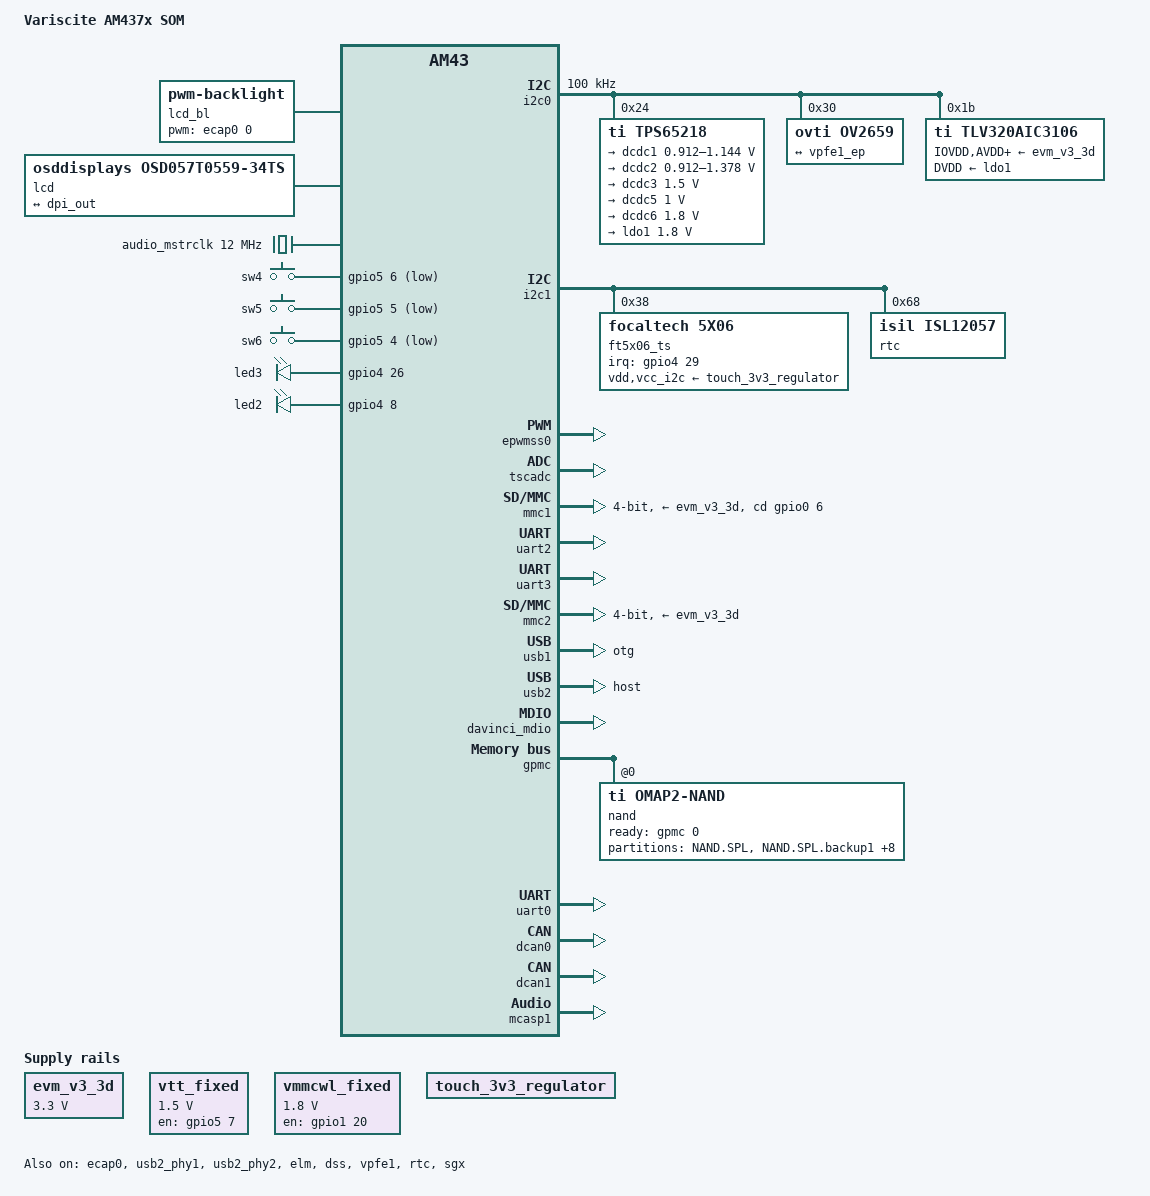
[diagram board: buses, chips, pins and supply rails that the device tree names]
/*
 * Copyright (C) 2015 Variscite LTD - http://www.variscite.com/
 *
 * This program is free software; you can redistribute it and/or modify
 * it under the terms of the GNU General Public License version 2 as
 * published by the Free Software Foundation.
 */

/* VAR-SOM-AM43 */

/dts-v1/;

#include "am4372.dtsi"
#include <dt-bindings/pinctrl/am43xx.h>
#include <dt-bindings/pwm/pwm.h>
#include <dt-bindings/gpio/gpio.h>
#include <dt-bindings/input/input.h>

/ {
	model = "Variscite AM437x SOM";
	compatible = "ti,am437x-gp-evm","ti,am4372","ti,am43","var,var-som-am43";

	aliases {
		display0 = &lcd0;
		serial1 = &uart1;
		serial2 = &uart2;
		serial3 = &uart3;
		serial4 = &uart4;
		serial5 = &uart5;
	};

	evm_v3_3d: fixedregulator-v3_3d {
		compatible = "regulator-fixed";
		regulator-name = "evm_v3_3d";
		regulator-min-microvolt = <3300000>;
		regulator-max-microvolt = <3300000>;
		enable-active-high;
	};

	vtt_fixed: fixedregulator-vtt {
		compatible = "regulator-fixed";
		regulator-name = "vtt_fixed";
		regulator-min-microvolt = <1500000>;
		regulator-max-microvolt = <1500000>;
		regulator-always-on;
		regulator-boot-on;
		enable-active-high;
		gpio = <&gpio5 7 GPIO_ACTIVE_HIGH>;
	};

	vmmcwl_fixed: fixedregulator-mmcwl {
		compatible = "regulator-fixed";
		regulator-name = "vmmcwl_fixed";
		regulator-min-microvolt = <1800000>;
		regulator-max-microvolt = <1800000>;
		gpio = <&gpio1 20 GPIO_ACTIVE_HIGH>;
		enable-active-high;
	};

	touch_3v3_regulator: touch_3v3_regulator {
	        compatible = "regulator-fixed";
	        regulator-name = "touch_3v3_regulator";
	};

	lcd_bl: backlight {
		compatible = "pwm-backlight";
		pwms = <&ecap0 0 5000 0>;
		brightness-levels = <1 51 53 56 62 75 101 152 250>;
		default-brightness-level = <8>;
	};

	lcd0: display {
		compatible = "osddisplays,osd057T0559-34ts", "panel-dpi";
		label = "lcd";

		panel-timing {
			clock-frequency = <33000000>;
			hactive = <800>;
			vactive = <480>;
			hfront-porch = <210>;
			hback-porch = <16>;
			hsync-len = <30>;
			vback-porch = <10>;
			vfront-porch = <22>;
			vsync-len = <13>;
			hsync-active = <0>;
			vsync-active = <0>;
			de-active = <1>;
			pixelclk-active = <1>;
		};

		port {
			lcd_in: endpoint {
				remote-endpoint = <&dpi_out>;
			};
		};
	};

	sound0: sound@0 {
		compatible = "simple-audio-card";
		simple-audio-card,name = "AM437x-GP-EVM";
		simple-audio-card,widgets =
			"Headphone", "Headphone Jack",
			"Line", "Line In";
		simple-audio-card,routing =
			"Headphone Jack",	"HPLOUT",
			"Headphone Jack",	"HPROUT",
			"LINE1L",		"Line In",
			"LINE1R",		"Line In";
		simple-audio-card,format = "dsp_b";
		simple-audio-card,bitclock-master = <&sound0_master>;
		simple-audio-card,frame-master = <&sound0_master>;
		simple-audio-card,bitclock-inversion;

		simple-audio-card,cpu {
			sound-dai = <&mcasp1>;
			system-clock-frequency = <24000000>;
		};

		sound0_master: simple-audio-card,codec {
			sound-dai = <&tlv320aic3106>;
			system-clock-frequency = <24000000>;
		};
	};

	audio_mstrclk: mclk_osc {
		compatible = "fixed-clock";
		#clock-cells = <0>;
		clock-frequency = <12000000>;
	};

	gpio_buttons: gpio_buttons@0 {
		compatible = "gpio-keys";
		pinctrl-names = "default";
		pinctrl-0 = <&keys_pins>;

		#address-cells = <1>;
		#size-cells = <0>;

		switch@4 {
			label = "sw4";
			linux,code = <KEY_MENU>;
			gpios = <&gpio5 6 GPIO_ACTIVE_LOW>;
			gpio-key,wakeup;
		};

		switch@5 {
			label = "sw5";
			linux,code = <KEY_HOME>;
			gpios = <&gpio5 5 GPIO_ACTIVE_LOW>;
			gpio-key,wakeup;
		};

		switch@6 {
			label = "sw6";
			linux,code = <KEY_BACK>;
			gpios = <&gpio5 4 GPIO_ACTIVE_LOW>;
			gpio-key,wakeup;
		};
	};

	gpio_leds: gpio_leds@0 {
		compatible = "gpio-leds";

		pinctrl-names = "default";
		pinctrl-0 = <&leds_pins>;

		led3 {
			label = "led3";
			gpios = <&gpio4 26 GPIO_ACTIVE_HIGH>;
			linux,default-trigger = "none";
		};

		led2 {
			label = "led2";
			gpios = <&gpio4 8 GPIO_ACTIVE_HIGH >;
			linux,default-trigger = "heartbeat";
		};
	};
#if 0
	kim {
		compatible = "kim";
		nshutdown_gpio = <48>; /* Bank1, pin16 */
		dev_name = "/dev/ttyS3";
		flow_cntrl = <1>;
		baud_rate = <3000000>;
	};

	btwilink {
		compatible = "btwilink";
	};
#endif
};

&am43xx_pinmux {
	pinctrl-names = "default", "sleep";
	pinctrl-0 = <&ddr3_vtt_toggle_default &debugss_pins &unused_pins &clkout2_pin>;
	pinctrl-1 = <>;

	ddr3_vtt_toggle_default: ddr_vtt_toggle_default {
		pinctrl-single,pins = <
			0x25C (DS0_PULL_UP_DOWN_EN | PIN_OUTPUT_PULLUP | DS0_FORCE_OFF_MODE | MUX_MODE7) /* spi0_cs0.gpio5_7 */
		>;
	};

	i2c0_pins: i2c0_pins {
		pinctrl-single,pins = <
			0x188 (PIN_INPUT_PULLUP | SLEWCTRL_FAST | MUX_MODE0)  /* i2c0_sda.i2c0_sda */
			0x18c (PIN_INPUT_PULLUP | SLEWCTRL_FAST | MUX_MODE0)  /* i2c0_scl.i2c0_scl */
		>;
	};

	i2c1_pins_default: i2c1_pins_default {
		pinctrl-single,pins = <
			0x15c (PIN_INPUT_PULLUP | SLEWCTRL_FAST | MUX_MODE2)  /* spi0_cs0.i2c1_scl */
			0x158 (PIN_INPUT_PULLUP | SLEWCTRL_FAST | MUX_MODE2)  /* spi0_d1.i2c1_sda  */
		>;
	};

	i2c1_pins_sleep: i2c1_pins_sleep {
		pinctrl-single,pins = <
			0x15c (PIN_INPUT_PULLUP | MUX_MODE7)
			0x158 (PIN_INPUT_PULLUP | MUX_MODE7)
		>;
	};

	mmc1_pins: pinmux_mmc1_pins {
		pinctrl-single,pins = <
			0x100 (PIN_INPUT_PULLUP | MUX_MODE0) /* mmc0_clk.mmc0_clk */
			0x104 (PIN_INPUT_PULLUP | MUX_MODE0) /* mmc0_cmd.mmc0_cmd */
			0x0f0 (PIN_INPUT_PULLUP | MUX_MODE0) /* mmc0_dat0.mmc0_dat0 */
			0x0f4 (PIN_INPUT_PULLUP | MUX_MODE0) /* mmc0_dat1.mmc0_dat1 */
			0x0f8 (PIN_INPUT_PULLUP | MUX_MODE0) /* mmc0_dat2.mmc0_dat2 */
			0x0fc (PIN_INPUT_PULLUP | MUX_MODE0) /* mmc0_dat3.mmc0_dat3 */
			0x160 (PIN_INPUT | MUX_MODE7) /* spi0_cs1.gpio0_6 */
		>;
	};

	mmc1_sleep_pins: pinmux_mmc1_sleep_pins {
		pinctrl-single,pins = <
			0x100 (PIN_INPUT_PULLDOWN | MUX_MODE7)
			0x104 (PIN_INPUT | PULL_DISABLE | MUX_MODE7)
			0x0f0 (PIN_INPUT | PULL_DISABLE | MUX_MODE7)
			0x0f4 (PIN_INPUT | PULL_DISABLE | MUX_MODE7)
			0x0f8 (PIN_INPUT | PULL_DISABLE | MUX_MODE7)
			0x0fc (PIN_INPUT | PULL_DISABLE | MUX_MODE7)
			0x160 (PIN_INPUT | PULL_DISABLE | MUX_MODE7)
		>;
	};

	emmc_pins_default: emmc_pins_default {
		pinctrl-single,pins = <
			0x20 (PIN_INPUT_PULLUP | MUX_MODE2) /* gpmc_ad8.mmc1_dat0 */
			0x24 (PIN_INPUT_PULLUP | MUX_MODE2) /* gpmc_ad9.mmc1_dat1 */
			0x28 (PIN_INPUT_PULLUP | MUX_MODE2) /* gpmc_ad10.mmc1_dat2 */
			0x2c (PIN_INPUT_PULLUP | MUX_MODE2) /* gpmc_ad11.mmc1_dat3 */
			0x80 (PIN_INPUT_PULLUP | MUX_MODE2) /* gpmc_csn1.mmc1_clk */
			0x84 (PIN_INPUT_PULLUP | MUX_MODE2) /* gpmc_csn2.mmc1_cmd */
		>;
	};

	emmc_pins_sleep: emmc_pins_sleep {
		pinctrl-single,pins = <
			0x20 (PIN_INPUT_PULLDOWN | MUX_MODE7) /* gpmc_ad8.mmc1_dat0 */
			0x24 (PIN_INPUT_PULLDOWN | MUX_MODE7) /* gpmc_ad9.mmc1_dat1 */
			0x28 (PIN_INPUT_PULLDOWN | MUX_MODE7) /* gpmc_ad10.mmc1_dat2 */
			0x2c (PIN_INPUT_PULLDOWN | MUX_MODE7) /* gpmc_ad11.mmc1_dat3 */
			0x80 (PIN_INPUT_PULLDOWN | MUX_MODE7) /* gpmc_csn1.mmc1_clk */
			0x84 (PIN_INPUT_PULLDOWN | MUX_MODE7) /* gpmc_csn2.mmc1_cmd */
		>;
	};

	ecap0_pins_default: backlight_pins_default {
		pinctrl-single,pins = <
			0x164 MUX_MODE0       /* eCAP0_in_PWM0_out.eCAP0_in_PWM0_out MODE0 */
		>;
	};

	ecap0_pins_sleep: backlight_pins_sleep {
		pinctrl-single,pins = <
			0x164 (PIN_INPUT_PULLDOWN | MUX_MODE7)
		>;
	};

	cpsw_default: cpsw_default {
		pinctrl-single,pins = <
			/* Slave 1 */
			0x114 (PIN_OUTPUT_PULLDOWN | MUX_MODE2)	/* mii1_txen.rgmii1_txen */
			0x118 (PIN_INPUT_PULLDOWN | MUX_MODE2)	/* mii1_rxdv.rgmii1_rxctl */
			0x11c (PIN_OUTPUT_PULLDOWN | MUX_MODE2)	/* mii1_txd1.rgmii1_txd3 */
			0x120 (PIN_OUTPUT_PULLDOWN | MUX_MODE2)	/* mii1_txd0.rgmii1_txd2 */
			0x124 (PIN_OUTPUT_PULLDOWN | MUX_MODE2)	/* mii1_txd1.rgmii1_txd1 */
			0x128 (PIN_OUTPUT_PULLDOWN | MUX_MODE2)	/* mii1_txd0.rgmii1_txd0 */
			0x12c (PIN_OUTPUT_PULLDOWN | MUX_MODE2)	/* mii1_txclk.rmii1_tclk */
			0x130 (PIN_INPUT_PULLDOWN | MUX_MODE2)	/* mii1_rxclk.rmii1_rclk */
			0x134 (PIN_INPUT_PULLDOWN | MUX_MODE2)	/* mii1_rxd1.rgmii1_rxd3 */
			0x138 (PIN_INPUT_PULLDOWN | MUX_MODE2)	/* mii1_rxd0.rgmii1_rxd2 */
			0x13c (PIN_INPUT_PULLDOWN | MUX_MODE2)	/* mii1_rxd1.rgmii1_rxd1 */
			0x140 (PIN_INPUT_PULLDOWN | MUX_MODE2)	/* mii1_rxd0.rgmii1_rxd0 */
		>;
	};

	cpsw_sleep: cpsw_sleep {
		pinctrl-single,pins = <
			/* Slave 1 reset value */
			0x114 (PIN_INPUT_PULLDOWN | MUX_MODE7)
			0x118 (PIN_INPUT_PULLDOWN | MUX_MODE7)
			0x11c (PIN_INPUT_PULLDOWN | MUX_MODE7)
			0x120 (PIN_INPUT_PULLDOWN | MUX_MODE7)
			0x124 (PIN_INPUT_PULLDOWN | MUX_MODE7)
			0x128 (PIN_INPUT_PULLDOWN | MUX_MODE7)
			0x12c (PIN_INPUT_PULLDOWN | MUX_MODE7)
			0x130 (PIN_INPUT_PULLDOWN | MUX_MODE7)
			0x134 (PIN_INPUT | PULL_DISABLE | MUX_MODE7)
			0x138 (PIN_INPUT | PULL_DISABLE | MUX_MODE7)
			0x13c (PIN_INPUT | PULL_DISABLE | MUX_MODE7)
			0x140 (PIN_INPUT | PULL_DISABLE | MUX_MODE7)
		>;
	};

	davinci_mdio_default: davinci_mdio_default {
		pinctrl-single,pins = <
			/* MDIO */
			0x148 (PIN_INPUT_PULLUP | SLEWCTRL_FAST | MUX_MODE0)	/* mdio_data.mdio_data */
			0x14c (PIN_OUTPUT_PULLUP | MUX_MODE0)			/* mdio_clk.mdio_clk */
		>;
	};

	davinci_mdio_sleep: davinci_mdio_sleep {
		pinctrl-single,pins = <
			/* MDIO reset value */
			0x148 (PIN_INPUT | PULL_DISABLE | MUX_MODE7)
			0x14c (PIN_INPUT | PULL_DISABLE | MUX_MODE7)
		>;
	};

	nand_flash_x8_default: nand_flash_x8_default {
		pinctrl-single,pins = <
			0x0  (PIN_INPUT  | MUX_MODE0)	/* gpmc_ad0.gpmc_ad0 */
			0x4  (PIN_INPUT  | MUX_MODE0)	/* gpmc_ad1.gpmc_ad1 */
			0x8  (PIN_INPUT  | MUX_MODE0)	/* gpmc_ad2.gpmc_ad2 */
			0xc  (PIN_INPUT  | MUX_MODE0)	/* gpmc_ad3.gpmc_ad3 */
			0x10 (PIN_INPUT  | MUX_MODE0)	/* gpmc_ad4.gpmc_ad4 */
			0x14 (PIN_INPUT  | MUX_MODE0)	/* gpmc_ad5.gpmc_ad5 */
			0x18 (PIN_INPUT  | MUX_MODE0)	/* gpmc_ad6.gpmc_ad6 */
			0x1c (PIN_INPUT  | MUX_MODE0)	/* gpmc_ad7.gpmc_ad7 */
			0x70 (PIN_INPUT_PULLUP | MUX_MODE0)	/* gpmc_wait0.gpmc_wait0 */
			0x74 (PIN_OUTPUT_PULLUP | MUX_MODE7)	/* gpmc_wpn.gpmc_wpn */
			0x7c (PIN_OUTPUT | MUX_MODE0)		/* gpmc_csn0.gpmc_csn0  */
			0x90 (PIN_OUTPUT | MUX_MODE0)		/* gpmc_advn_ale.gpmc_advn_ale */
			0x94 (PIN_OUTPUT | MUX_MODE0)		/* gpmc_oen_ren.gpmc_oen_ren */
			0x98 (PIN_OUTPUT | MUX_MODE0)		/* gpmc_wen.gpmc_wen */
			0x9c (PIN_OUTPUT | MUX_MODE0)		/* gpmc_be0n_cle.gpmc_be0n_cle */
		>;
	};

	nand_flash_x8_sleep: nand_flash_x8_sleep {
		pinctrl-single,pins = <
			0x0  (PIN_INPUT_PULLDOWN | MUX_MODE7)	/* gpmc_ad0.gpmc_ad0 */
			0x4  (PIN_INPUT_PULLDOWN | MUX_MODE7)	/* gpmc_ad1.gpmc_ad1 */
			0x8  (PIN_INPUT_PULLDOWN | MUX_MODE7)	/* gpmc_ad2.gpmc_ad2 */
			0xc  (PIN_INPUT_PULLDOWN | MUX_MODE7)	/* gpmc_ad3.gpmc_ad3 */
			0x10 (PIN_INPUT_PULLDOWN | MUX_MODE7)	/* gpmc_ad4.gpmc_ad4 */
			0x14 (PIN_INPUT_PULLDOWN | MUX_MODE7)	/* gpmc_ad5.gpmc_ad5 */
			0x18 (PIN_INPUT_PULLDOWN | MUX_MODE7)	/* gpmc_ad6.gpmc_ad6 */
			0x1c (PIN_INPUT_PULLDOWN | MUX_MODE7)	/* gpmc_ad7.gpmc_ad7 */
			0x70 (PIN_INPUT | PULL_DISABLE | MUX_MODE7)	/* gpmc_wait0.gpmc_wait0 */
			0x74 (PIN_INPUT_PULLDOWN | MUX_MODE7)	/* gpmc_wpn.gpmc_wpn */
			0x7c (PIN_INPUT | PULL_DISABLE | MUX_MODE7)		/* gpmc_csn0.gpmc_csn0  */
			0x90 (PIN_INPUT | PULL_DISABLE | MUX_MODE7)		/* gpmc_advn_ale.gpmc_advn_ale */
			0x94 (PIN_INPUT_PULLDOWN | MUX_MODE7)		/* gpmc_oen_ren.gpmc_oen_ren */
			0x98 (PIN_INPUT_PULLDOWN |  MUX_MODE7)		/* gpmc_wen.gpmc_wen */
			0x9c (PIN_INPUT | PULL_DISABLE | MUX_MODE7)		/* gpmc_be0n_cle.gpmc_be0n_cle */
		>;
	};

	dss_pinctrl_default: dss_pinctrl_default {
		pinctrl-single,pins = <
			0x1b0 (PIN_OUTPUT_PULLUP | MUX_MODE2) /* cam0_hd mode 2 */
			0x1b4 (PIN_OUTPUT_PULLUP | MUX_MODE2) /* cam0_vd mode 2 */
			0x1b8 (PIN_OUTPUT_PULLUP | MUX_MODE2) /* cam0_field mode 2 */
			0x1bc (PIN_OUTPUT_PULLUP | MUX_MODE2) /* cam0_wen mode 2 */
			0x1c0 (PIN_OUTPUT_PULLUP | MUX_MODE2) /* cam0_pclk mode 2 */
			0x1c4 (PIN_OUTPUT_PULLUP | MUX_MODE2) /* cam0_data8 mode 2 */
			0x1c8 (PIN_OUTPUT_PULLUP | MUX_MODE2) /* cam0_data9 mode 2 */
			0x1cc (PIN_OUTPUT_PULLUP | MUX_MODE2) /* cam1_data9 mode 2 */
			0x0a0 (PIN_OUTPUT_PULLUP | MUX_MODE0) /* DSS DATA 0 */
			0x0a4 (PIN_OUTPUT_PULLUP | MUX_MODE0)
			0x0a8 (PIN_OUTPUT_PULLUP | MUX_MODE0)
			0x0ac (PIN_OUTPUT_PULLUP | MUX_MODE0)
			0x0b0 (PIN_OUTPUT_PULLUP | MUX_MODE0)
			0x0b4 (PIN_OUTPUT_PULLUP | MUX_MODE0)
			0x0b8 (PIN_OUTPUT_PULLUP | MUX_MODE0)
			0x0bc (PIN_OUTPUT_PULLUP | MUX_MODE0)
			0x0c0 (PIN_OUTPUT_PULLUP | MUX_MODE0)
			0x0c4 (PIN_OUTPUT_PULLUP | MUX_MODE0)
			0x0c8 (PIN_OUTPUT_PULLUP | MUX_MODE0)
			0x0cc (PIN_OUTPUT_PULLUP | MUX_MODE0)
			0x0d0 (PIN_OUTPUT_PULLUP | MUX_MODE0)
			0x0d4 (PIN_OUTPUT_PULLUP | MUX_MODE0)
			0x0d8 (PIN_OUTPUT_PULLUP | MUX_MODE0)
			0x0dc (PIN_OUTPUT_PULLUP | MUX_MODE0) /* DSS DATA 15 */
			0x0e0 (PIN_OUTPUT_PULLUP | MUX_MODE0) /* DSS VSYNC */
			0x0e4 (PIN_OUTPUT_PULLUP | MUX_MODE0) /* DSS HSYNC */
			0x0e8 (PIN_OUTPUT_PULLUP | MUX_MODE0) /* DSS PCLK */
			0x0ec (PIN_OUTPUT_PULLUP | MUX_MODE0) /* DSS AC BIAS EN */

		>;
	};

	dss_pinctrl_sleep: dss_pinctrl_sleep {
		pinctrl-single,pins = <
			0x1B0 (DS0_PULL_UP_DOWN_EN | PIN_INPUT_PULLDOWN | MUX_MODE7)
			0x1B4 (DS0_PULL_UP_DOWN_EN | PIN_INPUT_PULLDOWN | MUX_MODE7)
			0x1B8 (DS0_PULL_UP_DOWN_EN | PIN_INPUT_PULLDOWN | MUX_MODE7)
			0x1BC (DS0_PULL_UP_DOWN_EN | PIN_INPUT_PULLDOWN | MUX_MODE7)
			0x1C0 (DS0_PULL_UP_DOWN_EN | PIN_INPUT_PULLDOWN | MUX_MODE7)
			0x1C4 (DS0_PULL_UP_DOWN_EN | PIN_INPUT_PULLDOWN | MUX_MODE7)
			0x1C8 (DS0_PULL_UP_DOWN_EN | PIN_INPUT_PULLDOWN | MUX_MODE7)
			0x1CC (DS0_PULL_UP_DOWN_EN | PIN_INPUT_PULLDOWN | MUX_MODE7)
			0x0A0 (DS0_PULL_UP_DOWN_EN | INPUT_EN | PULL_DISABLE | MUX_MODE7)
			0x0A4 (DS0_PULL_UP_DOWN_EN | INPUT_EN | PULL_DISABLE | MUX_MODE7)
			0x0A8 (DS0_PULL_UP_DOWN_EN | INPUT_EN | PULL_DISABLE | MUX_MODE7)
			0x0AC (DS0_PULL_UP_DOWN_EN | INPUT_EN | PULL_DISABLE | MUX_MODE7)
			0x0B0 (DS0_PULL_UP_DOWN_EN | INPUT_EN | PULL_DISABLE | MUX_MODE7)
			0x0B4 (DS0_PULL_UP_DOWN_EN | INPUT_EN | PULL_DISABLE | MUX_MODE7)
			0x0B8 (DS0_PULL_UP_DOWN_EN | INPUT_EN | PULL_DISABLE | MUX_MODE7)
			0x0BC (DS0_PULL_UP_DOWN_EN | PIN_INPUT_PULLDOWN | MUX_MODE7)
			0x0C0 (DS0_PULL_UP_DOWN_EN | PIN_INPUT_PULLDOWN | MUX_MODE7)
			0x0C4 (DS0_PULL_UP_DOWN_EN | INPUT_EN | PULL_DISABLE | MUX_MODE7)
			0x0C8 (DS0_PULL_UP_DOWN_EN | PIN_INPUT_PULLDOWN | MUX_MODE7)
			0x0CC (DS0_PULL_UP_DOWN_EN | PIN_INPUT_PULLDOWN | MUX_MODE7)
			0x0D0 (DS0_PULL_UP_DOWN_EN | INPUT_EN | PULL_DISABLE | MUX_MODE7)
			0x0D4 (DS0_PULL_UP_DOWN_EN | INPUT_EN | PULL_DISABLE | MUX_MODE7)
			0x0D8 (DS0_PULL_UP_DOWN_EN | INPUT_EN | PULL_DISABLE | MUX_MODE7)
			0x0DC (DS0_PULL_UP_DOWN_EN | PIN_INPUT_PULLDOWN | MUX_MODE7)
			0x0E0 (DS0_PULL_UP_DOWN_EN | PIN_INPUT_PULLDOWN | MUX_MODE7)
			0x0E4 (DS0_PULL_UP_DOWN_EN | PIN_INPUT_PULLDOWN | MUX_MODE7)
			0x0E8 (DS0_PULL_UP_DOWN_EN | PIN_INPUT_PULLDOWN | MUX_MODE7)
			0x0EC (DS0_PULL_UP_DOWN_EN | PIN_INPUT_PULLDOWN | MUX_MODE7)
		>;
	};

	clkout2_pin: clkout2_pin {
		pinctrl-single,pins = <
			0x274 (PIN_OUTPUT_PULLUP | MUX_MODE3)
		>;
	};

	dcan0_default: dcan0_default_pins {
		pinctrl-single,pins = <
			0x178 (PIN_OUTPUT | MUX_MODE2)		/* uart1_ctsn.d_can0_tx */
			0x17c (PIN_INPUT_PULLUP | MUX_MODE2)	/* uart1_rtsn.d_can0_rx */
		>;
	};

	dcan0_sleep: dcan0_sleep_pins {
		pinctrl-single,pins = <
			0x178 (PIN_INPUT_PULLUP | MUX_MODE7)	/* uart1_ctsn.gpio0_12 */
			0x17c (PIN_INPUT_PULLUP | MUX_MODE7)	/* uart1_rtsn.gpio0_13 */
		>;
	};

	dcan1_default: dcan1_default_pins {
		pinctrl-single,pins = <
			0x180 (PIN_OUTPUT | MUX_MODE2)		/* uart1_rxd.d_can1_tx */
			0x184 (PIN_INPUT_PULLUP | MUX_MODE2)	/* uart1_txd.d_can1_rx */
		>;
	};

	dcan1_sleep: dcan1_sleep_pins {
		pinctrl-single,pins = <
			0x180 (PIN_INPUT_PULLUP | MUX_MODE7)	/* uart1_rxd.gpio0_14 */
			0x184 (PIN_INPUT_PULLUP | MUX_MODE7)	/* uart1_txd.gpio0_15 */
		>;
	};

	vpfe1_pins_default: vpfe1_pins_default {
		pinctrl-single,pins = <
			0x1D4 (PIN_INPUT_PULLUP | MUX_MODE0)  /* cam1_hd mode 0*/
			0x1D8 (PIN_INPUT_PULLUP | MUX_MODE0)  /* cam1_vd mode 0*/
			0x1DC (PIN_INPUT_PULLUP | MUX_MODE0)  /* cam1_pclk mode 0*/
			0x1E8 (PIN_INPUT_PULLUP | MUX_MODE0)  /* cam1_data0 mode 0*/
			0x1EC (PIN_INPUT_PULLUP | MUX_MODE0)  /* cam1_data1 mode 0*/
			0x1F0 (PIN_INPUT_PULLUP | MUX_MODE0)  /* cam1_data2 mode 0*/
			0x1F4 (PIN_INPUT_PULLUP | MUX_MODE0)  /* cam1_data3 mode 0*/
			0x1F8 (PIN_INPUT_PULLUP | MUX_MODE0)  /* cam1_data4 mode 0*/
			0x1FC (PIN_INPUT_PULLUP | MUX_MODE0)  /* cam1_data5 mode 0*/
			0x200 (PIN_INPUT_PULLUP | MUX_MODE0)  /* cam1_data6 mode 0*/
			0x204 (PIN_INPUT_PULLUP | MUX_MODE0)  /* cam1_data7 mode 0*/
			0x208 (PIN_INPUT_PULLUP | MUX_MODE2)  /* cam0_data0.cam1_data9 */
			0x20C (PIN_INPUT_PULLUP | MUX_MODE2)  /* cam0_data1.cam1_data8 */
			0x210 (PIN_INPUT_PULLUP | MUX_MODE2)  /* cam0_data2.cam1_data10 */
			0x214 (PIN_INPUT_PULLUP | MUX_MODE2)  /* cam0_data3.cam1_data11 */
		>;
	};

	vpfe1_pins_sleep: vpfe1_pins_sleep {
		pinctrl-single,pins = <
			0x1D4 (DS0_PULL_UP_DOWN_EN | INPUT_EN | MUX_MODE7)  /* cam1_hd mode 0*/
			0x1D8 (DS0_PULL_UP_DOWN_EN | INPUT_EN | MUX_MODE7)  /* cam1_vd mode 0*/
			0x1DC (DS0_PULL_UP_DOWN_EN | INPUT_EN | MUX_MODE7)  /* cam1_pclk mode 0*/
			0x1E8 (DS0_PULL_UP_DOWN_EN | INPUT_EN | MUX_MODE7)  /* cam1_data0 mode 0*/
			0x1EC (DS0_PULL_UP_DOWN_EN | INPUT_EN | MUX_MODE7)  /* cam1_data1 mode 0*/
			0x1F0 (DS0_PULL_UP_DOWN_EN | INPUT_EN | MUX_MODE7)  /* cam1_data2 mode 0*/
			0x1F4 (DS0_PULL_UP_DOWN_EN | INPUT_EN | MUX_MODE7)  /* cam1_data3 mode 0*/
			0x1F8 (DS0_PULL_UP_DOWN_EN | INPUT_EN | MUX_MODE7)  /* cam1_data4 mode 0*/
			0x1FC (DS0_PULL_UP_DOWN_EN | INPUT_EN | MUX_MODE7)  /* cam1_data5 mode 0*/
			0x200 (DS0_PULL_UP_DOWN_EN | INPUT_EN | MUX_MODE7)  /* cam1_data6 mode 0*/
			0x204 (DS0_PULL_UP_DOWN_EN | INPUT_EN | MUX_MODE7)  /* cam1_data7 mode 0*/
			0x208 (DS0_PULL_UP_DOWN_EN | INPUT_EN | MUX_MODE7)  /* cam0_data0.cam1_data9 */
			0x20C (DS0_PULL_UP_DOWN_EN | INPUT_EN | MUX_MODE7)  /* cam0_data1.cam1_data8 */
			0x210 (DS0_PULL_UP_DOWN_EN | INPUT_EN | MUX_MODE7)  /* cam0_data2.cam1_data10 */
			0x214 (DS0_PULL_UP_DOWN_EN | INPUT_EN | MUX_MODE7)  /* cam0_data3.cam1_data11 */
		>;
	};

	mcasp1_pins: mcasp1_pins {
		pinctrl-single,pins = <
			0x108 (PIN_OUTPUT_PULLDOWN | MUX_MODE4)	/* mii1_col.mcasp1_axr2 */
			0x10c (PIN_INPUT_PULLDOWN | MUX_MODE4)	/* mii1_crs.mcasp1_aclkx */
			0x110 (PIN_INPUT_PULLDOWN | MUX_MODE4)	/* mii1_rxerr.mcasp1_fsx */
			0x144 (PIN_INPUT_PULLDOWN | MUX_MODE4)	/* rmii1_ref_clk.mcasp1_axr3 */
			0x270 (PIN_INPUT_PULLDOWN | MUX_MODE3)	/* xdma_event_intr0, ball D24: CLK_AM437X_CLKOUT1 */
		>;
	};

	mcasp1_sleep_pins: mcasp1_sleep_pins {
		pinctrl-single,pins = <
			0x108 (PIN_INPUT_PULLDOWN | MUX_MODE7)
			0x10c (PIN_INPUT_PULLDOWN | MUX_MODE7)
			0x110 (PIN_INPUT_PULLDOWN | MUX_MODE7)
			0x144 (PIN_INPUT_PULLDOWN | MUX_MODE7)
		>;
	};

	uart0_pins_default: uart0_pins_default {
		pinctrl-single,pins = <
			0x170 (PIN_INPUT_PULLUP | MUX_MODE0)	/* uart0_rxd.uart0_rxd */
			0x174 (PIN_OUTPUT_PULLDOWN | MUX_MODE0)	/* uart0_txd.uart0_txd */
		>;
	};

        uart2_pins_default: uart2_pins_default {
                pinctrl-single,pins = <
                       0x150 (PIN_INPUT_PULLUP | MUX_MODE1)	/* spi0_sclk.uart2_rxd */
                       0x154 (PIN_OUTPUT_PULLDOWN | MUX_MODE1)	/* spi0_d0.uart2_txd */
                       0x238 (PIN_OUTPUT_PULLUP | MUX_MODE7)	/* pr1_mii0_col.gpio5_8 RS232 - high, RS485 - low */
                >;
        };
	
        uart2_pins_sleep: uart2_pins_sleep {
                pinctrl-single,pins = <
                       0x150 (PIN_INPUT_PULLDOWN | MUX_MODE7)	/* spi0_sclk.uart2_rxd */
                       0x154 (PIN_INPUT_PULLDOWN  | MUX_MODE7)	/* spi0_d0.uart2_txd */
                       0x238 (PIN_INPUT_PULLDOWN  | MUX_MODE7)	/* pr1_mii0_col.gpio5_8 RS232 - high, RS485 - low */
                >;
        };
	
	uart3_pins: uart3_pins {
		pinctrl-single,pins = <
			0x228 (PIN_INPUT | MUX_MODE0)		/* uart3_rxd.uart3_rxd */
			0x22c (PIN_OUTPUT_PULLDOWN | MUX_MODE0)	/* uart3_txd.uart3_txd */
			0x230 (PIN_INPUT_PULLUP | MUX_MODE0)	/* uart3_ctsn.uart3_ctsn */
			0x234 (PIN_OUTPUT_PULLDOWN | MUX_MODE0)	/* uart3_rtsn.uart3_rtsn */
		>;
	};

	debugss_pins: pinmux_debugss_pins {
		pinctrl-single,pins = <
			0x290 (PIN_INPUT_PULLDOWN)
			0x294 (PIN_INPUT_PULLDOWN)
			0x298 (PIN_INPUT_PULLDOWN)
			0x29C (PIN_INPUT_PULLDOWN)
			0x2A0 (PIN_INPUT_PULLDOWN)
			0x2A4 (PIN_INPUT_PULLDOWN)
			0x2A8 (PIN_INPUT_PULLDOWN)
		>;
	};

	ft5x06_pins: pinmux_ft5x06_pins {
		pinctrl-single,pins = <
			0x224 (PIN_INPUT_PULLUP | MUX_MODE7)	/* cam0_data7.gpio4_29, INPUT | MODE7 */
		>;
	};

	keys_pins: pinmux_keys_pins {
		pinctrl-single,pins = <
			0x250 (PIN_INPUT_PULLUP | MUX_MODE7)	/* spi4_sclk.gpio5_4 */
			0x254 (PIN_INPUT_PULLUP | MUX_MODE7)	/* spi4_d0.gpio5_5 */
			0x258 (PIN_INPUT_PULLUP | MUX_MODE7)	/* spi4_d1.gpio5_6 */
		>;
	};

	leds_pins: pinmux_leds_pins {
		pinctrl-single,pins = <
			0x1d0 (PIN_OUTPUT_PULLDOWN | MUX_MODE7)	/* cam1_data8.gpio4_8 */
			0x218 (PIN_OUTPUT_PULLDOWN | MUX_MODE7)	/* cam0_data4.gpio4_26 */
		>;
	};

	unused_pins: unused_pins {
		pinctrl-single,pins = <
			0x190	(PIN_INPUT_PULLDOWN | MUX_MODE7)
			0x194	(PIN_INPUT_PULLDOWN | MUX_MODE7)
			0x198	(PIN_INPUT_PULLDOWN | MUX_MODE7)
			0x19C	(PIN_INPUT_PULLDOWN | MUX_MODE7)
			0x1A0	(PIN_INPUT_PULLDOWN | MUX_MODE7)
			0x23C	(PIN_INPUT | PULL_DISABLE | MUX_MODE7)
			0x240	(PIN_INPUT_PULLDOWN | MUX_MODE7)
			0x244	(PIN_INPUT_PULLDOWN | MUX_MODE7)
			0x248	(PIN_INPUT_PULLDOWN | MUX_MODE7)
			0x24C	(PIN_INPUT_PULLDOWN | MUX_MODE7)
			0x260	(PIN_INPUT | PULL_DISABLE | MUX_MODE7)
			0x268	(PIN_INPUT_PULLDOWN | MUX_MODE7)
			0x278	(PIN_INPUT_PULLDOWN | MUX_MODE7)
			0x27C	(PIN_INPUT | PULL_DISABLE)
			0x2C8	(PIN_INPUT_PULLDOWN)
			0x2D4	(PIN_INPUT_PULLDOWN)
			0x2D8	(PIN_INPUT_PULLDOWN | MUX_MODE7)
			0x2DC	(PIN_INPUT_PULLDOWN | MUX_MODE7)
			0x2E0	(PIN_INPUT_PULLDOWN | MUX_MODE7)
			0x2E4	(PIN_INPUT_PULLDOWN | MUX_MODE7)
			0x2E8	(PIN_INPUT_PULLDOWN | MUX_MODE7)
			0x2EC	(PIN_INPUT_PULLDOWN | MUX_MODE7)
			0x2F0	(PIN_INPUT_PULLDOWN | MUX_MODE7)
			0x2F4	(PIN_INPUT_PULLDOWN | MUX_MODE7)
			0x2F8	(PIN_INPUT_PULLDOWN | MUX_MODE7)
			0x2FC	(PIN_INPUT_PULLDOWN | MUX_MODE7)
			0x300	(PIN_INPUT_PULLDOWN | MUX_MODE7)
			0x304	(PIN_INPUT_PULLDOWN | MUX_MODE7)
			0x308	(PIN_INPUT_PULLDOWN | MUX_MODE7)
			0x30C	(PIN_INPUT_PULLDOWN | MUX_MODE7)
			0x310	(PIN_INPUT_PULLDOWN | MUX_MODE7)
			0x314	(PIN_INPUT_PULLDOWN | MUX_MODE7)
			0x318	(PIN_INPUT_PULLDOWN | MUX_MODE7)
		>;
	};

	usb1_pins_default: usb1_pins_default {
		pinctrl-single,pins = <
			0x2c0 (DS0_PULL_UP_DOWN_EN | PIN_INPUT_PULLDOWN | MUX_MODE0)
		>;
	};

	usb1_pins_sleep: usb1_pins_sleep {
		pinctrl-single,pins = <
			0x2c0 (DS0_PULL_UP_DOWN_EN | PIN_INPUT_PULLDOWN | MUX_MODE7)
		>;
	};

	usb2_pins_default: usb2_pins_default {
		pinctrl-single,pins = <
			0x2c4 (DS0_PULL_UP_DOWN_EN | PIN_INPUT_PULLDOWN | MUX_MODE0)
		>;
	};

	usb2_pins_sleep: usb2_pins_sleep {
		pinctrl-single,pins = <
			0x2c4 (DS0_PULL_UP_DOWN_EN | PIN_INPUT_PULLDOWN | MUX_MODE7)
		>;
	};
};

&i2c0 {
	status = "okay";
	pinctrl-names = "default";
	pinctrl-0 = <&i2c0_pins>;
	clock-frequency = <100000>;

	tps65218: tps65218@24 {
		reg = <0x24>;
		compatible = "ti,tps65218";
		interrupts = <GIC_SPI 7 IRQ_TYPE_NONE>; /* NMIn */
		interrupt-controller;
		#interrupt-cells = <2>;

		dcdc1: regulator-dcdc1 {
			compatible = "ti,tps65218-dcdc1";
			regulator-name = "vdd_core";
			regulator-min-microvolt = <912000>;
			regulator-max-microvolt = <1144000>;
			regulator-boot-on;
			regulator-always-on;
		};

		dcdc2: regulator-dcdc2 {
			compatible = "ti,tps65218-dcdc2";
			regulator-name = "vdd_mpu";
			regulator-min-microvolt = <912000>;
			regulator-max-microvolt = <1378000>;
			regulator-boot-on;
			regulator-always-on;
		};

		dcdc3: regulator-dcdc3 {
			compatible = "ti,tps65218-dcdc3";
			regulator-name = "vdcdc3";
			regulator-min-microvolt = <1500000>;
			regulator-max-microvolt = <1500000>;
			regulator-boot-on;
			regulator-always-on;
			regulator-state-mem {
				regulator-on-in-suspend;
			};
			regulator-state-disk {
				regulator-off-in-suspend;
			};
		};

		dcdc5: regulator-dcdc5 {
			compatible = "ti,tps65218-dcdc5";
			regulator-name = "v1_0bat";
			regulator-min-microvolt = <1000000>;
			regulator-max-microvolt = <1000000>;
			regulator-boot-on;
			regulator-always-on;
			regulator-state-mem {
				regulator-on-in-suspend;
			};
		};

		dcdc6: regulator-dcdc6 {
			compatible = "ti,tps65218-dcdc6";
			regulator-name = "v1_8bat";
			regulator-min-microvolt = <1800000>;
			regulator-max-microvolt = <1800000>;
			regulator-boot-on;
			regulator-always-on;
			regulator-state-mem {
				regulator-on-in-suspend;
			};
		};

		ldo1: regulator-ldo1 {
			compatible = "ti,tps65218-ldo1";
			regulator-min-microvolt = <1800000>;
			regulator-max-microvolt = <1800000>;
			regulator-boot-on;
			regulator-always-on;
		};
	};

        ov2659@30 {
		compatible = "ovti,ov2659";
		reg = <0x30>;

		clocks = <&audio_mstrclk>;
		clock-names = "xvclk";

		port {
			ov2659_0: endpoint {
				remote-endpoint = <&vpfe1_ep>;
				link-frequencies = /bits/ 64 <70000000>;
			};
		};
	};

	tlv320aic3106: tlv320aic3106@1b {
		#sound-dai-cells = <0>;
		compatible = "ti,tlv320aic3106";
		reg = <0x1b>;
		status = "okay";

		/* Regulators */
		IOVDD-supply = <&evm_v3_3d>; /* V3_3D -> <tps63031> EN: V1_8D -> VBAT */
		AVDD-supply = <&evm_v3_3d>; /* v3_3AUD -> V3_3D -> ... */
		DRVDD-supply = <&evm_v3_3d>; /* v3_3AUD -> V3_3D -> ... */
		DVDD-supply = <&ldo1>; /* V1_8D -> LDO1 */
	};
};

&i2c1 {
	status = "okay";
	pinctrl-names = "default", "sleep";
	pinctrl-0 = <&i2c1_pins_default>;
	pinctrl-1 = <&i2c1_pins_sleep>;
		
	ft5x06_ts@38 {
		compatible = "focaltech,5x06";
		reg = <0x38>;
		focaltech,family-id = <0x54>;
		pinctrl-names = "default";
		pinctrl-0 = <&ft5x06_pins>;
		interrupt-parent = <&gpio4>;
		interrupts = <29 2>;
		vdd-supply = <&touch_3v3_regulator>;
		vcc_i2c-supply = <&touch_3v3_regulator>;
		focaltech,irq-gpio = <&gpio4 29 0x00>;
		focaltech,display-coords = <0 0 800 480>;
		focaltech,name = "ft6x06";
		focaltech,no-force-update;
		focaltech,group-id = <1>;
		focaltech,hard-reset-delay-ms = <20>;
		focaltech,soft-reset-delay-ms = <150>;
		focaltech,num-max-touches = <2>;
		focaltech,fw-name = "ft_8610_qrd_fw.bin";
		focaltech,fw-delay-aa-ms = <100>;
		focaltech,fw-delay-55-ms = <30>;
		focaltech,fw-upgrade-id1 = <0x79>;
		focaltech,fw-upgrade-id2 = <0x08>;
		focaltech,fw-delay-readid-ms = <10>;
		focaltech,fw-delay-era-flsh-ms = <2000>;
		focaltech,fw-auto-cal;
		focaltech,mirror_h;
		focaltech,mirror_v;
	};

        /* ISL12057 RTC module */
        rtc@0x68 {
                 compatible = "isil,isl12057";
                 reg = <0x68>;
        };
};

&epwmss0 {
	status = "okay";
};

&tscadc {
	status = "okay";

	tsc {
		ti,wires = <4>;
		ti,x-plate-resistance = <200>;
		ti,coordinate-readouts = <5>;
		ti,wire-config = <0x00 0x11 0x22 0x33>;
		ti,charge-delay = <0x700>;
	};

	adc {
		ti,adc-channels = <4 5 6 7>;
	};
};

&ecap0 {
	status = "okay";
	pinctrl-names = "default", "sleep";
	pinctrl-0 = <&ecap0_pins_default>;
	pinctrl-1 = <&ecap0_pins_sleep>;
};

&gpio0 {
	status = "okay";
};

&gpio1 {
	status = "okay";
};

&gpio2 {
	status = "okay";
};

&gpio3 {
	status = "okay";
};

&gpio4 {
	status = "okay";
};

&gpio5 {
	status = "okay";
	ti,no-reset-on-init;
};

&mmc1 {
	status = "okay";
	vmmc-supply = <&evm_v3_3d>;
	bus-width = <4>;
	pinctrl-names = "default", "sleep";
	pinctrl-0 = <&mmc1_pins>;
	pinctrl-1 = <&mmc1_sleep_pins>;
	cd-gpios = <&gpio0 6 GPIO_ACTIVE_HIGH>;
};

&uart2 {
	status = "okay";
	pinctrl-names = "default", "sleep";
	pinctrl-0 = <&uart2_pins_default>;
	pinctrl-1 = <&uart2_pins_sleep>;
};

&uart3 {
	status = "okay";
	pinctrl-names = "default";
	pinctrl-0 = <&uart3_pins>;
};

/* eMMC sits on mmc2 */
&mmc2 {
	status = "ok";
	vmmc-supply = <&evm_v3_3d>;
	bus-width = <4>;
	pinctrl-names = "default", "sleep";
	pinctrl-0 = <&emmc_pins_default>;
	pinctrl-1 = <&emmc_pins_sleep>;
	ti,non-removable;
};

&usb2_phy1 {
	status = "okay";
};

&usb1 {
	//dr_mode = "host";
	dr_mode = "otg";
	status = "okay";
	pinctrl-names = "default", "sleep";
	pinctrl-0 = <&usb1_pins_default>;
	pinctrl-1 = <&usb1_pins_sleep>;
};

&usb2_phy2 {
	status = "okay";
};

&usb2 {
	dr_mode = "host";
	status = "okay";
	pinctrl-names = "default", "sleep";
	pinctrl-0 = <&usb2_pins_default>;
	pinctrl-1 = <&usb2_pins_sleep>;
};

&davinci_mdio {
	pinctrl-names = "default", "sleep";
	pinctrl-0 = <&davinci_mdio_default>;
	pinctrl-1 = <&davinci_mdio_sleep>;
	status = "okay";
};

&elm {
	status = "okay";
};

&gpmc {
	status = "okay";
	pinctrl-names = "default", "sleep";
	pinctrl-0 = <&nand_flash_x8_default>;
	pinctrl-1 = <&nand_flash_x8_sleep>;
	ranges = <0 0 0x08000000 0x01000000>;	/* CS0 space. Min partition = 16MB */
	nand@0,0 {
		compatible = "ti,omap2-nand";
		reg = <0 0 4>;		/* device IO registers */
		interrupt-parent = <&gic>;
		interrupts = <GIC_SPI 100 IRQ_TYPE_LEVEL_HIGH>;
		ready-gpio = <&gpmc 0 GPIO_ACTIVE_HIGH>;	/* gpmc_wait0 */
		ti,nand-ecc-opt = "bch8";
		ti,elm-id = <&elm>;
		nand-bus-width = <8>;
		gpmc,device-width = <1>;
		gpmc,sync-clk-ps = <0>;
		gpmc,cs-on-ns = <0>;
		gpmc,cs-rd-off-ns = <40>;
		gpmc,cs-wr-off-ns = <40>;
		gpmc,adv-on-ns = <0>;
		gpmc,adv-rd-off-ns = <25>;
		gpmc,adv-wr-off-ns = <25>;
		gpmc,we-on-ns = <0>;
		gpmc,we-off-ns = <20>;
		gpmc,oe-on-ns = <3>;
		gpmc,oe-off-ns = <30>;
		gpmc,access-ns = <30>;
		gpmc,rd-cycle-ns = <40>;
		gpmc,wr-cycle-ns = <40>;
		gpmc,bus-turnaround-ns = <0>;
		gpmc,cycle2cycle-delay-ns = <0>;
		gpmc,clk-activation-ns = <0>;
		gpmc,wr-access-ns = <40>;
		gpmc,wr-data-mux-bus-ns = <0>;
		/* MTD partition table */
		/* All SPL-* partitions are sized to minimal length
		 * which can be independently programmable. For
		 * NAND flash this is equal to size of erase-block */
		#address-cells = <1>;
		#size-cells = <1>;
		partition@0 {
			label = "NAND.SPL";
			reg = <0x00000000 0x00040000>;
		};
		partition@1 {
			label = "NAND.SPL.backup1";
			reg = <0x00040000 0x00040000>;
		};
		partition@2 {
			label = "NAND.SPL.backup2";
			reg = <0x00080000 0x00040000>;
		};
		partition@3 {
			label = "NAND.SPL.backup3";
			reg = <0x000c0000 0x00040000>;
		};
		partition@4 {
			label = "NAND.u-boot-spl-os";
			reg = <0x00100000 0x00080000>;
		};
		partition@5 {
			label = "NAND.u-boot";
			reg = <0x00180000 0x00100000>;
		};
		partition@6 {
			label = "NAND.u-boot-env";
			reg = <0x00280000 0x00040000>;
		};
		partition@7 {
			label = "NAND.u-boot-env.backup1";
			reg = <0x002c0000 0x00040000>;
		};
		partition@8 {
			label = "NAND.kernel";
			reg = <0x00300000 0x00700000>;
		};
		partition@9 {
			label = "NAND.file-system";
			reg = <0x00a00000 0x1f600000>;
		};
	};
};

&uart0 {
	status = "okay";
	pinctrl-names = "default", "sleep";
	pinctrl-0 = <&uart0_pins_default>;
	pinctrl-1 = <>;
};

&dss {
	status = "ok";

	pinctrl-names = "default", "sleep";
	pinctrl-0 = <&dss_pinctrl_default>;
	pinctrl-1 = <&dss_pinctrl_sleep>;

	port {
		dpi_out: endpoint@0 {
			remote-endpoint = <&lcd_in>;
			data-lines = <24>;
		};
	};
};

&dcan0 {
	pinctrl-names = "default", "sleep";
	pinctrl-0 = <&dcan0_default>;
	pinctrl-1 = <&dcan0_sleep>;
	status = "okay";
};

&dcan1 {
	pinctrl-names = "default", "sleep";
	pinctrl-0 = <&dcan1_default>;
	pinctrl-1 = <&dcan1_sleep>;
	status = "okay";
};

&vpfe1 {
	status = "okay";
	pinctrl-names = "default", "sleep";
	pinctrl-0 = <&vpfe1_pins_default>;
	pinctrl-1 = <&vpfe1_pins_sleep>;
	port {
		vpfe1_ep: endpoint {
			remote-endpoint = <&ov2659_0>;
			ti,am437x-vpfe-interface = <0>;
			bus-width = <8>;
			hsync-active = <0>;
			vsync-active = <0>;
		};
	};
};

&mcasp1 {
	#sound-dai-cells = <0>;
	pinctrl-names = "default", "sleep";
	pinctrl-0 = <&mcasp1_pins>;
	pinctrl-1 = <&mcasp1_sleep_pins>;

	status = "okay";

	op-mode = <0>; /* MCASP_IIS_MODE */
	tdm-slots = <2>;
	/* 4 serializers */
	serial-dir = <  /* 0: INACTIVE, 1: TX, 2: RX */
		0 0 1 2
	>;
	tx-num-evt = <32>;
	rx-num-evt = <32>;
};

&wkup_m3_ipc {
	ti,set-io-isolation;
	ti,scale-data-fw = "am43x-evm-scale-data.bin";
};

&cpu {
	cpu0-supply = <&dcdc2>;
};

&rtc {
	status = "okay";
	ext-clk-src;
};

&sgx {
	status = "okay";
};
